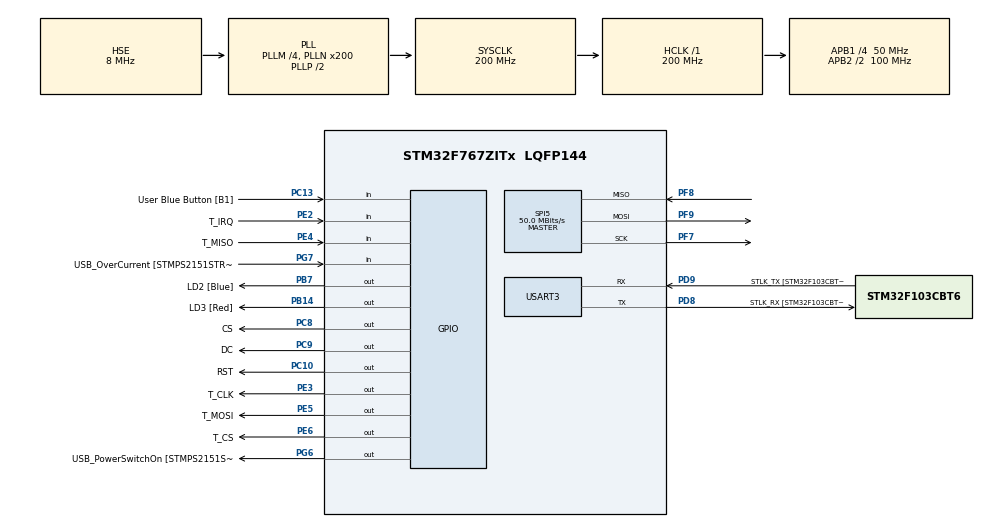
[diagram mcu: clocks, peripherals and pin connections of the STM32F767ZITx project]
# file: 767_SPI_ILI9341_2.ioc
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CORTEX_M7.ART_ACCLERATOR_ENABLE=1
CORTEX_M7.CPU_DCache=Enabled
CORTEX_M7.CPU_ICache=Enabled
CORTEX_M7.PREFETCH_ENABLE=1
Mcu.Family=STM32F7
Mcu.Name=STM32F767ZITx
Mcu.Package=LQFP144
NVIC.PriorityGroup=NVIC_PRIORITYGROUP_4
NVIC.USART3_IRQn=true\:0\:0\:false\:false\:true\:true\:true\:true
PA1.GPIO_Label=RMII_REF_CLK [LAN8742A-CZ-TR_REFCLK0]
PA1.Signal=ETH_REF_CLK
PA13.GPIO_Label=TMS
PA13.Mode=Serial_Wire
PA13.Signal=SYS_JTMS-SWDIO
PA14.GPIO_Label=TCK
PA14.Mode=Serial_Wire
PA14.Signal=SYS_JTCK-SWCLK
PA2.GPIO_Label=RMII_MDIO [LAN8742A-CZ-TR_MDIO]
PA2.Signal=ETH_MDIO
PA7.GPIO_Label=RMII_CRS_DV [LAN8742A-CZ-TR_CRS_DV]
PA7.Signal=ETH_CRS_DV
PB13.GPIO_Label=RMII_TXD1 [LAN8742A-CZ-TR_TXD1]
PB13.Signal=ETH_TXD1
PB14.GPIO_Label=LD3 [Red]
PB14.Signal=GPIO_Output
PB3.GPIO_Label=SWO
PB3.Signal=SYS_JTDO-SWO
PB7.GPIO_Label=LD2 [Blue]
PB7.Signal=GPIO_Output
PC1.GPIO_Label=RMII_MDC [LAN8742A-CZ-TR_MDC]
PC1.Signal=ETH_MDC
PC10.GPIO_Label=RST
PC10.GPIO_Speed=GPIO_SPEED_FREQ_VERY_HIGH
PC10.Signal=GPIO_Output
PC13.GPIO_Label=User Blue Button [B1]
PC13.Signal=GPIO_Input
PC14/OSC32_IN.Mode=LSE-External-Oscillator
PC14/OSC32_IN.Signal=RCC_OSC32_IN
PC15/OSC32_OUT.Mode=LSE-External-Oscillator
PC15/OSC32_OUT.Signal=RCC_OSC32_OUT
PC4.GPIO_Label=RMII_RXD0 [LAN8742A-CZ-TR_RXD0]
PC4.Signal=ETH_RXD0
PC5.GPIO_Label=RMII_RXD1 [LAN8742A-CZ-TR_RXD1]
PC5.Signal=ETH_RXD1
PC8.GPIO_Label=CS
PC8.GPIO_Speed=GPIO_SPEED_FREQ_VERY_HIGH
PC8.Signal=GPIO_Output
PC9.GPIO_Label=DC
PC9.GPIO_Speed=GPIO_SPEED_FREQ_VERY_HIGH
PC9.Signal=GPIO_Output
PD8.GPIO_Label=STLK_RX [STM32F103CBT6_PA3]
PD8.Mode=Asynchronous
PD8.Signal=USART3_TX
PD9.GPIO_Label=STLK_TX [STM32F103CBT6_PA2]
PD9.Mode=Asynchronous
PD9.Signal=USART3_RX
PE2.GPIO_Label=T_IRQ
PE2.Signal=GPIO_Input
PE3.GPIO_Label=T_CLK
PE3.GPIO_Speed=GPIO_SPEED_FREQ_VERY_HIGH
PE3.Signal=GPIO_Output
PE4.GPIO_Label=T_MISO
PE4.Signal=GPIO_Input
PE5.GPIO_Label=T_MOSI
PE5.GPIO_Speed=GPIO_SPEED_FREQ_VERY_HIGH
PE5.Signal=GPIO_Output
PE6.GPIO_Label=T_CS
PE6.GPIO_Speed=GPIO_SPEED_FREQ_VERY_HIGH
PE6.Signal=GPIO_Output
PF7.Mode=Full_Duplex_Master
PF7.Signal=SPI5_SCK
PF8.Mode=Full_Duplex_Master
PF8.Signal=SPI5_MISO
PF9.Mode=Full_Duplex_Master
PF9.Signal=SPI5_MOSI
PG11.GPIO_Label=RMII_TX_EN [LAN8742A-CZ-TR_TXEN]
PG11.Signal=ETH_TX_EN
PG13.GPIO_Label=RMII_TXD0 [LAN8742A-CZ-TR_TXD0]
PG13.Signal=ETH_TXD0
PG6.GPIO_Label=USB_PowerSwitchOn [STMPS2151STR_EN]
PG6.Signal=GPIO_Output
PG7.GPIO_Label=USB_OverCurrent [STMPS2151STR_FAULT]
PG7.Signal=GPIO_Input
PH0/OSC_IN.GPIO_Label=MCO [STM32F103CBT6_PA8]
PH0/OSC_IN.Mode=HSE-External-Clock-Source
PH0/OSC_IN.Signal=RCC_OSC_IN
PH1/OSC_OUT.Mode=HSE-External-Clock-Source
PH1/OSC_OUT.Signal=RCC_OSC_OUT
ProjectManager.HeapSize=0x200
ProjectManager.StackSize=0x400
ProjectManager.TargetToolchain=STM32CubeIDE
RCC.48MHZClocksFreq_Value=24000000
RCC.AHBFreq_Value=200000000
RCC.APB1CLKDivider=RCC_HCLK_DIV4
RCC.APB1Freq_Value=50000000
RCC.APB1TimFreq_Value=100000000
RCC.APB2CLKDivider=RCC_HCLK_DIV2
RCC.APB2Freq_Value=100000000
RCC.APB2TimFreq_Value=200000000
RCC.CortexFreq_Value=200000000
RCC.HCLKFreq_Value=200000000
RCC.HSE_VALUE=8000000
RCC.HSI_VALUE=16000000
RCC.PLLM=4
RCC.PLLMUL=RCC_PLL_MUL9
RCC.PLLN=200
RCC.PLLQ=9
RCC.PLLSourceVirtual=RCC_PLLSOURCE_HSE
RCC.PRESCALERUSB=RCC_USBCLKSOURCE_PLL_DIV1_5
RCC.SYSCLKFreq_VALUE=200000000
RCC.SYSCLKSource=RCC_SYSCLKSOURCE_PLLCLK
RCC.SYSCLKSourceVirtual=RCC_SYSCLKSOURCE_PLLCLK
RCC.USBFreq_Value=44444444.44444445
RCC.VCOOutputFreq_Value=400000000
SPI5.CalculateBaudRate=50.0 MBits/s
SPI5.DataSize=SPI_DATASIZE_8BIT
SPI5.Direction=SPI_DIRECTION_2LINES
SPI5.Mode=SPI_MODE_MASTER
SPI5.NSSPMode=SPI_NSS_PULSE_DISABLE
SPI5.VirtualType=VM_MASTER
TIM1.ClockDivision=TIM_CLOCKDIVISION_DIV2
TIM1.Period=0
TIM1.Prescaler=10000-1
USART3.VirtualMode-Asynchronous=VM_ASYNC
VP_RNG_VS_RNG.Mode=RNG_Activate
VP_TIM1_VS_ClockSourceINT.Mode=Internal
board=NUCLEO-F767ZI

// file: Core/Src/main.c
/* USER CODE BEGIN Header */
/**
  ******************************************************************************
  * @file           : main.c
  * @brief          : Main program body
  ******************************************************************************
  * @attention
  *
  * <h2><center>&copy; Copyright (c) 2021 STMicroelectronics.
  * All rights reserved.</center></h2>
  *
  * This software component is licensed by ST under BSD 3-Clause license,
  * the "License"; You may not use this file except in compliance with the
  * License. You may obtain a copy of the License at:
  *                        opensource.org/licenses/BSD-3-Clause
  *
  ******************************************************************************
  */
/* USER CODE END Header */
#include "main.h"
#include "rng.h"
#include "spi.h"
#include "tim.h"
#include "usart.h"
#include "gpio.h"

/* USER CODE BEGIN Includes */
#include "stdio.h"
#include "string.h"
#include "ILI9341_Touchscreen.h"
#include "ILI9341_STM32_Driver.h"
#include "ILI9341_GFX.h"
/* USER CODE END Includes */

/* USER CODE BEGIN PV */
/* Private variables ---------------------------------------------------------*/
char ch,morse_alpha[10],send_buffer[100];
int idxMorse,idxBuffer;
// Function to convert Morse code to character
char thaiText[] = "สวัสดีครับ";
char morseToChar(char* morse) {
    if (strcmp(morse, "01") == 0) return 'A';
    else if (strcmp(morse, "1000") == 0) return 'B';
    else if (strcmp(morse, "1010") == 0) return 'C';
    else if (strcmp(morse, "100") == 0) return 'D';
    else if (strcmp(morse, "0") == 0) return 'E';
    else if (strcmp(morse, "0010") == 0) return 'F';
    else if (strcmp(morse, "110") == 0) return 'G';
    else if (strcmp(morse, "0000") == 0) return 'H';
    else if (strcmp(morse, "00") == 0) return 'I';
    else if (strcmp(morse, "0111") == 0) return 'J';
    else if (strcmp(morse, "101") == 0) return 'K';
    else if (strcmp(morse, "0100") == 0) return 'L';
    else if (strcmp(morse, "11") == 0) return 'M';
    else if (strcmp(morse, "10") == 0) return 'N';
    else if (strcmp(morse, "111") == 0) return 'O';
    else if (strcmp(morse, "0110") == 0) return 'P';
    else if (strcmp(morse, "1101") == 0) return 'Q';
    else if (strcmp(morse, "010") == 0) return 'R';
    else if (strcmp(morse, "000") == 0) return 'S';
    else if (strcmp(morse, "1") == 0) return 'T';
    else if (strcmp(morse, "001") == 0) return 'U';
    else if (strcmp(morse, "0001") == 0) return 'V';
    else if (strcmp(morse, "011") == 0) return 'W';
    else if (strcmp(morse, "1001") == 0) return 'X';
    else if (strcmp(morse, "1011") == 0) return 'Y';
    else if (strcmp(morse, "1100") == 0) return 'Z';
    else if (strcmp(morse, "11111") == 0) return '0';
    else if (strcmp(morse, "01111") == 0) return '1';
    else if (strcmp(morse, "00111") == 0) return '2';
    else if (strcmp(morse, "00011") == 0) return '3';
    else if (strcmp(morse, "00001") == 0) return '4';
    else if (strcmp(morse, "00000") == 0) return '5';
    else if (strcmp(morse, "10000") == 0) return '6';
    else if (strcmp(morse, "11000") == 0) return '7';
    else if (strcmp(morse, "11100") == 0) return '8';
    else if (strcmp(morse, "11110") == 0) return '9';
    else if (strcmp(morse,"2") == 0) return ' ';
    else return '?'; // Unknown Morse code symbol
}
/* USER CODE END PV */

void SystemClock_Config(void);
/* USER CODE BEGIN PFP */
/* Private function prototypes -----------------------------------------------*/

/* USER CODE END PFP */

int main(void)
{

  /* Enable I-Cache---------------------------------------------------------*/
  SCB_EnableICache();

  /* Enable D-Cache---------------------------------------------------------*/
  SCB_EnableDCache();

  /* MCU Configuration--------------------------------------------------------*/

  /* Reset of all peripherals, Initializes the Flash interface and the Systick. */
  HAL_Init();

  /* Configure the system clock */
  SystemClock_Config();

  /* Initialize all configured peripherals */
  MX_GPIO_Init();
  MX_USART3_UART_Init();
  MX_SPI5_Init();
  MX_TIM1_Init();
  MX_RNG_Init();
  /* USER CODE BEGIN 2 */
  ILI9341_Init();//initial driver setup to drive ili9341
  HAL_UART_Receive_IT(&huart3, (uint8_t*) &ch, 1);
  ILI9341_Fill_Screen(WHITE);
  ILI9341_Set_Rotation(SCREEN_HORIZONTAL_1);
  /* USER CODE END 2 */

  /* Infinite loop */
  while (1)
  {

  }
}

void SystemClock_Config(void)
{
  RCC_OscInitTypeDef RCC_OscInitStruct = {0};
  RCC_ClkInitTypeDef RCC_ClkInitStruct = {0};
  RCC_PeriphCLKInitTypeDef PeriphClkInitStruct = {0};

  /** Configure LSE Drive Capability
  */
  HAL_PWR_EnableBkUpAccess();
  /** Configure the main internal regulator output voltage
  */
  __HAL_RCC_PWR_CLK_ENABLE();
  __HAL_PWR_VOLTAGESCALING_CONFIG(PWR_REGULATOR_VOLTAGE_SCALE1);
  /** Initializes the RCC Oscillators according to the specified parameters
  * in the RCC_OscInitTypeDef structure.
  */
  RCC_OscInitStruct.OscillatorType = RCC_OSCILLATORTYPE_HSE;
  RCC_OscInitStruct.HSEState = RCC_HSE_BYPASS;
  RCC_OscInitStruct.PLL.PLLState = RCC_PLL_ON;
  RCC_OscInitStruct.PLL.PLLSource = RCC_PLLSOURCE_HSE;
  RCC_OscInitStruct.PLL.PLLM = 4;
  RCC_OscInitStruct.PLL.PLLN = 200;
  RCC_OscInitStruct.PLL.PLLP = RCC_PLLP_DIV2;
  RCC_OscInitStruct.PLL.PLLQ = 9;
  RCC_OscInitStruct.PLL.PLLR = 2;
  if (HAL_RCC_OscConfig(&RCC_OscInitStruct) != HAL_OK)
  {
    Error_Handler();
  }
  /** Activate the Over-Drive mode
  */
  if (HAL_PWREx_EnableOverDrive() != HAL_OK)
  {
    Error_Handler();
  }
  /** Initializes the CPU, AHB and APB buses clocks
  */
  RCC_ClkInitStruct.ClockType = RCC_CLOCKTYPE_HCLK|RCC_CLOCKTYPE_SYSCLK
                              |RCC_CLOCKTYPE_PCLK1|RCC_CLOCKTYPE_PCLK2;
  RCC_ClkInitStruct.SYSCLKSource = RCC_SYSCLKSOURCE_PLLCLK;
  RCC_ClkInitStruct.AHBCLKDivider = RCC_SYSCLK_DIV1;
  RCC_ClkInitStruct.APB1CLKDivider = RCC_HCLK_DIV4;
  RCC_ClkInitStruct.APB2CLKDivider = RCC_HCLK_DIV2;

  if (HAL_RCC_ClockConfig(&RCC_ClkInitStruct, FLASH_LATENCY_6) != HAL_OK)
  {
    Error_Handler();
  }
  PeriphClkInitStruct.PeriphClockSelection = RCC_PERIPHCLK_USART3|RCC_PERIPHCLK_CLK48;
  PeriphClkInitStruct.Usart3ClockSelection = RCC_USART3CLKSOURCE_PCLK1;
  PeriphClkInitStruct.Clk48ClockSelection = RCC_CLK48SOURCE_PLL;
  if (HAL_RCCEx_PeriphCLKConfig(&PeriphClkInitStruct) != HAL_OK)
  {
    Error_Handler();
  }
}

/* USER CODE BEGIN 4 */

void HAL_UART_RxCpltCallback(UART_HandleTypeDef *huart)
{
	if(huart==&huart3){
		HAL_UART_Receive_IT(&huart3, (uint8_t*) &ch, 1);
		while(__HAL_UART_GET_FLAG(&huart3,UART_FLAG_TC)==RESET){}
		if(ch==32){
			HAL_UART_Transmit(&huart3,(uint8_t*)" ",1,1000);
			send_buffer[idxBuffer++]=morseToChar(morse_alpha);
			memset(morse_alpha,0,strlen(morse_alpha));
			idxMorse = 0;
		}
		else if(ch==13){
			send_buffer[idxBuffer++]=morseToChar(morse_alpha);
			memset(morse_alpha,0,strlen(morse_alpha));
			idxMorse = 0;
			ILI9341_Fill_Screen(WHITE);
			ILI9341_Draw_Text(send_buffer, 10, 120, BLACK, 2, WHITE);
			HAL_UART_Transmit(&huart3,(uint8_t*)"\r\n",2,1000);
			HAL_UART_Transmit(&huart3,(uint8_t*)&send_buffer,strlen(send_buffer),1000);
			HAL_UART_Transmit(&huart3,(uint8_t*)"\r\n",2,1000);
			memset(send_buffer,0,strlen(send_buffer));
			idxBuffer = 0;
		}
		else{
			HAL_UART_Transmit(&huart3,(uint8_t*)&ch,1,1000);
			morse_alpha[idxMorse++]=ch;
		}
	}
}

/* USER CODE END 4 */

void Error_Handler(void)
{
  while(1)
  {
  }
}

/************************ (C) COPYRIGHT STMicroelectronics *****END OF FILE****/
